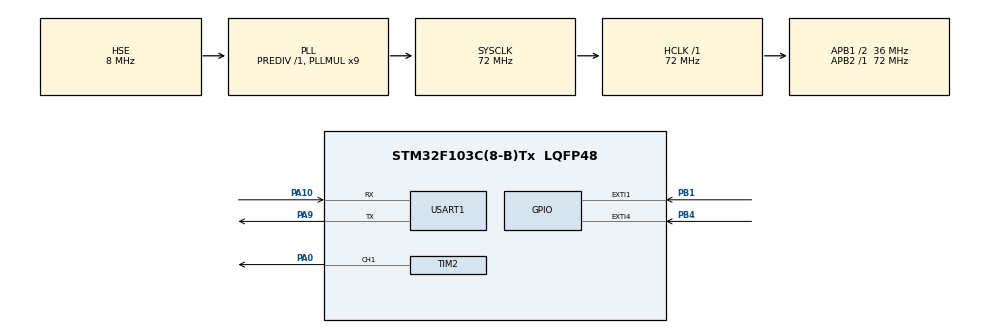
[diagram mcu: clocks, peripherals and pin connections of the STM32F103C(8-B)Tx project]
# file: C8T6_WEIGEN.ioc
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Mcu.Family=STM32F1
Mcu.Name=STM32F103C(8-B)Tx
Mcu.Package=LQFP48
NVIC.EXTI1_IRQn=true\:0\:0\:false\:false\:true\:true\:true
NVIC.EXTI4_IRQn=true\:1\:0\:true\:false\:true\:true\:true
NVIC.PriorityGroup=NVIC_PRIORITYGROUP_4
NVIC.TIM1_UP_IRQn=true\:0\:0\:false\:false\:true\:true\:true
NVIC.TIM2_IRQn=true\:0\:0\:false\:false\:true\:true\:true
NVIC.USART1_IRQn=true\:0\:0\:false\:false\:true\:true\:true
PA0-WKUP.Signal=S_TIM2_CH1_ETR
PA10.Mode=Asynchronous
PA10.Signal=USART1_RX
PA13.Mode=Serial_Wire
PA13.Signal=SYS_JTMS-SWDIO
PA14.Mode=Serial_Wire
PA14.Signal=SYS_JTCK-SWCLK
PA9.Mode=Asynchronous
PA9.Signal=USART1_TX
PB1.Signal=GPXTI1
PB4.Signal=GPXTI4
PD0-OSC_IN.Mode=HSE-External-Oscillator
PD0-OSC_IN.Signal=RCC_OSC_IN
PD1-OSC_OUT.Mode=HSE-External-Oscillator
PD1-OSC_OUT.Signal=RCC_OSC_OUT
ProjectManager.HeapSize=0x200
ProjectManager.StackSize=0x400
ProjectManager.TargetToolchain=MDK-ARM V5.27
RCC.AHBFreq_Value=72000000
RCC.APB1CLKDivider=RCC_HCLK_DIV2
RCC.APB1Freq_Value=36000000
RCC.APB1TimFreq_Value=72000000
RCC.APB2Freq_Value=72000000
RCC.APB2TimFreq_Value=72000000
RCC.HCLKFreq_Value=72000000
RCC.PLLMUL=RCC_PLL_MUL9
RCC.PLLSourceVirtual=RCC_PLLSOURCE_HSE
RCC.SYSCLKFreq_VALUE=72000000
RCC.SYSCLKSource=RCC_SYSCLKSOURCE_PLLCLK
RCC.USBFreq_Value=72000000
SH.S_TIM2_CH1_ETR.0=TIM2_CH1,PWM Generation1 CH1
TIM1.Period=25999
TIM1.Prescaler=999
TIM2.Channel-PWM\ Generation1\ CH1=TIM_CHANNEL_1
TIM2.Period=1439
TIM2.Prescaler=999
TIM2.Pulse-PWM\ Generation1\ CH1=36
USART1.VirtualMode=VM_ASYNC
VP_TIM1_VS_ClockSourceINT.Mode=Internal
VP_TIM2_VS_ClockSourceINT.Mode=Internal
board=custom

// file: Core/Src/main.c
/* USER CODE BEGIN Header */
/**
  ******************************************************************************
  * @file           : main.c
  * @brief          : Main program body
  ******************************************************************************
  * @attention
  *
  * <h2><center>&copy; Copyright (c) 2021 STMicroelectronics.
  * All rights reserved.</center></h2>
  *
  * This software component is licensed by ST under BSD 3-Clause license,
  * the "License"; You may not use this file except in compliance with the
  * License. You may obtain a copy of the License at:
  *                        opensource.org/licenses/BSD-3-Clause
  *
  ******************************************************************************
  */
/* USER CODE END Header */
#include "main.h"
#include "tim.h"
#include "usart.h"
#include "gpio.h"

/* USER CODE BEGIN Includes */
#include "stdio.h"
/* USER CODE END Includes */

/* USER CODE BEGIN PM */
uint32_t WG_Data;  //存放获取到的26位数据
uint8_t  WG_Count=0;  //存放获取数据的位数
uint8_t  WG_Status; //数据接收标志位
uint8_t  EVEN;
uint8_t  ODD;
uint8_t wg_recv[3];
/* USER CODE END PM */

/* USER CODE BEGIN PV */
#ifdef __GNUC__
#define PUTCHAR_PROTOTYPE int __io_putchar(int ch)
#else
#define PUTCHAR_PROTOTYPE int fputc(int ch, FILE *f)
#endif
PUTCHAR_PROTOTYPE
{
    //具体哪个串口可以更改USART1为其它串口
    while ((USART1->SR & 0X40) == 0); //循环发送,直到发送完毕
    USART1->DR = (uint8_t) ch;
    return ch;
}
/* USER CODE END PV */

void SystemClock_Config(void);

/* USER CODE BEGIN 0 */
void HAL_TIM_PeriodElapsedCallback(TIM_HandleTypeDef *htim)
{
//	printf("WG_Count%d",WG_Count);
if(WG_Count==26)
{
WG_Status=1;
 __HAL_TIM_CLEAR_IT(&htim1, TIM_IT_UPDATE);

}

HAL_TIM_Base_Stop_IT(&htim1);
}

void HAL_GPIO_EXTI_Callback(uint16_t GPIO_Pin)
{

	HAL_TIM_Base_Stop_IT(&htim1);
	TIM1->CNT=0;
	HAL_TIM_Base_Start_IT(&htim1);
	if(GPIO_Pin==GPIO_PIN_1)
	{
	  WG_Data <<= 1;
		WG_Count++;

	 __HAL_GPIO_EXTI_CLEAR_IT(GPIO_PIN_1);

	}

	if(GPIO_Pin==GPIO_PIN_4)
	{
	  WG_Data <<= 1;
		WG_Data = WG_Data| 0x01;
		WG_Count++;

	 __HAL_GPIO_EXTI_CLEAR_IT(GPIO_PIN_4);

	}

}

int check_even_odd(uint8_t *str)
{
	uint8_t i, one_num	= 0;
	unsigned short check_temp;

		if(NULL == str)
		return -1;
 //偶校验
	check_temp = str[0];
	for(i = 0;i < 8;i++)
	{
		if(check_temp<<i & 0x80)
			one_num+=1;
	}
	check_temp = str[1];
	for(i = 0;i < 4;i++)
	{
		if(check_temp<<i & 0x80)
			one_num+=1;
	}
	if(one_num % 2 )
		EVEN = 1;
	else
		EVEN = 0;

	//奇校验
	one_num = 0;
	check_temp = str[1];
	for(i = 0;i < 4;i++)
	{
		if(check_temp>>i & 0x01)
			one_num+=1;
	}
	check_temp = str[2];
	for(i = 0;i < 8;i++)
	{
		if(check_temp<<i & 0x80)
			one_num+=1;
	}
	if(one_num % 2 )
		ODD = 0;
	else
		ODD = 1;
	return 0;

}

int WG_Recv26(uint8_t *str)
{
		if(WG_Status){

			if(WG_Count == 26){
				str[0] = WG_Data>>17 & 0xFF;
				str[1] = WG_Data>>9  & 0xFF;
				str[2] = WG_Data>>1  & 0xFF;

				check_even_odd(str);
				if(EVEN == (WG_Data>>25 & 0x01) &&  ODD== (WG_Data & 0x01)){
					  WG_Status = 0;
						WG_Data = 0;
						WG_Count = 0;

						return 1;
				}
				else {
						WG_Status = 0;
						WG_Data = 0;
						WG_Count = 0;
						return 0;
				}

			}
			WG_Status = 0;
			WG_Data = 0;
			WG_Count = 0;
			return -1;
		}
		return -2;
}
/* USER CODE END 0 */

int main(void)
{
  /* USER CODE BEGIN 1 */
uint8_t sign=0;
  /* USER CODE END 1 */

  /* MCU Configuration--------------------------------------------------------*/

  /* Reset of all peripherals, Initializes the Flash interface and the Systick. */
  HAL_Init();

  /* Configure the system clock */
  SystemClock_Config();

  /* Initialize all configured peripherals */
  MX_GPIO_Init();
  MX_TIM1_Init();
  MX_TIM2_Init();
  MX_USART1_UART_Init();
  /* USER CODE BEGIN 2 */
__HAL_TIM_CLEAR_IT(&htim1, TIM_IT_UPDATE);
HAL_TIM_Base_Start_IT(&htim1);
HAL_TIM_PWM_Start(&htim2,TIM_CHANNEL_1);
  /* USER CODE END 2 */

  /* Infinite loop */
  while (1)
  {

    /* USER CODE BEGIN 3 */
				if(WG_Recv26(wg_recv)==1)
		{
			HAL_UART_Transmit(&huart1, wg_recv,3, 10);
//				if((wg_recv[0]==0xE8)&&(wg_recv[1]==0xF5)&&(wg_recv[2]==0x51))
//			  {

//					if(sign==0)__HAL_TIM_SET_COMPARE(&htim2,TIM_CHANNEL_1,72);
//					else __HAL_TIM_SET_COMPARE(&htim2,TIM_CHANNEL_1,36);
//					sign=!sign;

//				}

		}
  }
  /* USER CODE END 3 */
}

void SystemClock_Config(void)
{
  RCC_OscInitTypeDef RCC_OscInitStruct = {0};
  RCC_ClkInitTypeDef RCC_ClkInitStruct = {0};

  /** Initializes the RCC Oscillators according to the specified parameters
  * in the RCC_OscInitTypeDef structure.
  */
  RCC_OscInitStruct.OscillatorType = RCC_OSCILLATORTYPE_HSE;
  RCC_OscInitStruct.HSEState = RCC_HSE_ON;
  RCC_OscInitStruct.HSEPredivValue = RCC_HSE_PREDIV_DIV1;
  RCC_OscInitStruct.HSIState = RCC_HSI_ON;
  RCC_OscInitStruct.PLL.PLLState = RCC_PLL_ON;
  RCC_OscInitStruct.PLL.PLLSource = RCC_PLLSOURCE_HSE;
  RCC_OscInitStruct.PLL.PLLMUL = RCC_PLL_MUL9;
  if (HAL_RCC_OscConfig(&RCC_OscInitStruct) != HAL_OK)
  {
    Error_Handler();
  }
  /** Initializes the CPU, AHB and APB buses clocks
  */
  RCC_ClkInitStruct.ClockType = RCC_CLOCKTYPE_HCLK|RCC_CLOCKTYPE_SYSCLK
                              |RCC_CLOCKTYPE_PCLK1|RCC_CLOCKTYPE_PCLK2;
  RCC_ClkInitStruct.SYSCLKSource = RCC_SYSCLKSOURCE_PLLCLK;
  RCC_ClkInitStruct.AHBCLKDivider = RCC_SYSCLK_DIV1;
  RCC_ClkInitStruct.APB1CLKDivider = RCC_HCLK_DIV2;
  RCC_ClkInitStruct.APB2CLKDivider = RCC_HCLK_DIV1;

  if (HAL_RCC_ClockConfig(&RCC_ClkInitStruct, FLASH_LATENCY_2) != HAL_OK)
  {
    Error_Handler();
  }
}

void Error_Handler(void)
{
}

/************************ (C) COPYRIGHT STMicroelectronics *****END OF FILE****/
